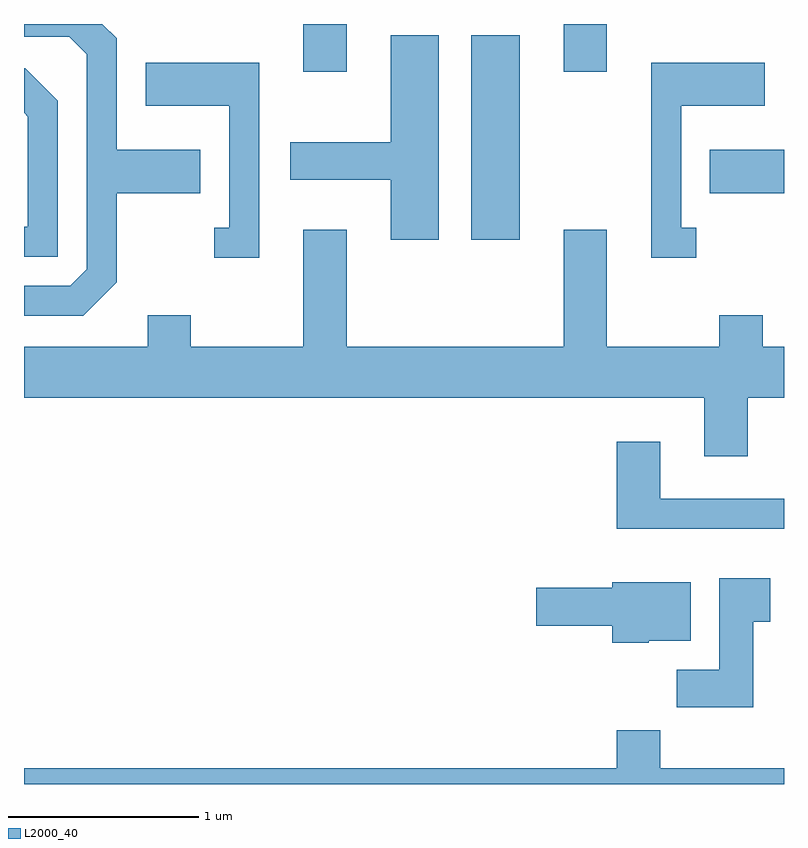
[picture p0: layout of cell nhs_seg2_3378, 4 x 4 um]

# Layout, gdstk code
import gdstk
lib = gdstk.Library(unit=1e-6, precision=1e-09)
def R(c, l, rs):  # rectangles x0, y0, x1, y1
    for r in rs: c.add(gdstk.rectangle(r[:2], r[2:], *l))
def P(c, l, *ps):  # polygons
    for p in ps: c.add(gdstk.Polygon(p, *l))
L2000_40 = (2000, 40)

nhs_seg2_3378 = lib.new_cell('nhs_seg2_3378')
R(nhs_seg2_3378, L2000_40, [(285.966,1084.666,286.219,1085.744), (287.221,1084.911,287.611,1085.139), (285.081,1085.551,285.309,1085.802), (286.451,1085.551,286.679,1085.802)])
P(nhs_seg2_3378, L2000_40, [(284.013,1084.357),(284.099,1084.444),(284.099,1084.911),(284.539,1084.911),(284.539,1085.139),(284.099,1085.139),(284.099,1085.727),(284.024,1085.802),(283.611,1085.802),(283.611,1085.736),(283.849,1085.736),(283.941,1085.644),(283.941,1084.512),(283.854,1084.424),(283.611,1084.424),(283.611,1084.266),(283.922,1084.266)],
  [(285.794,1085.744),(285.541,1085.744),(285.541,1085.179),(285.011,1085.179),(285.011,1084.981),(285.541,1084.981),(285.541,1084.666),(285.794,1084.666)],
  [(287.148,1084.729),(287.069,1084.729),(287.069,1085.371),(287.509,1085.371),(287.509,1085.599),(286.911,1085.599),(286.911,1084.571),(287.148,1084.571)],
  [(284.849,1085.599),(284.251,1085.599),(284.251,1085.371),(284.691,1085.371),(284.691,1084.729),(284.613,1084.729),(284.613,1084.571),(284.849,1084.571)],
  [(283.789,1085.397),(283.617,1085.569),(283.611,1085.569),(283.611,1085.334),(283.631,1085.314),(283.631,1084.734),(283.611,1084.734),(283.611,1084.576),(283.789,1084.576)],
  [(287.419,1083.836),(287.611,1083.836),(287.611,1084.104),(287.499,1084.104),(287.499,1084.269),(287.271,1084.269),(287.271,1084.104),(286.679,1084.104),(286.679,1084.719),(286.451,1084.719),(286.451,1084.104),(285.309,1084.104),(285.309,1084.719),(285.081,1084.719),(285.081,1084.104),(284.489,1084.104),(284.489,1084.269),(284.261,1084.269),(284.261,1084.104),(283.611,1084.104),(283.611,1083.836),(287.191,1083.836),(287.191,1083.526),(287.419,1083.526)],
  [(287.611,1083.304),(286.959,1083.304),(286.959,1083.604),(286.731,1083.604),(286.731,1083.146),(287.611,1083.146)],
  [(287.449,1082.656),(287.539,1082.656),(287.539,1082.884),(287.271,1082.884),(287.271,1082.404),(287.046,1082.404),(287.046,1082.206),(287.449,1082.206)],
  [(286.9,1082.556),(287.119,1082.556),(287.119,1082.864),(286.706,1082.864),(286.706,1082.834),(286.306,1082.834),(286.306,1082.636),(286.706,1082.636),(286.706,1082.546),(286.9,1082.546)],
  [(287.611,1081.884),(286.959,1081.884),(286.959,1082.084),(286.731,1082.084),(286.731,1081.884),(283.611,1081.884),(283.611,1081.802),(287.611,1081.802)])

lib.write_gds('nhs_seg2_3378.gds')
